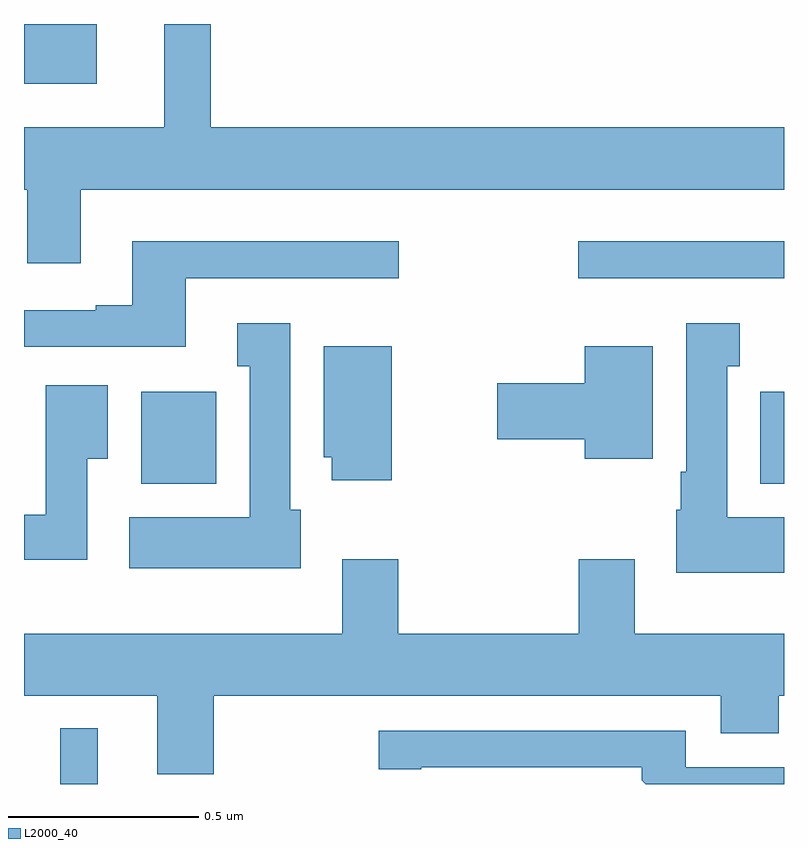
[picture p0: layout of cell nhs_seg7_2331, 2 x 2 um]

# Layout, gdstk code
import gdstk
lib = gdstk.Library(unit=1e-6, precision=1e-09)
def R(c, l, rs):  # rectangles x0, y0, x1, y1
    for r in rs: c.add(gdstk.rectangle(r[:2], r[2:], *l))
def P(c, l, *ps):  # polygons
    for p in ps: c.add(gdstk.Polygon(p, *l))
L2000_40 = (2000, 40)

nhs_seg7_2331 = lib.new_cell('nhs_seg7_2331')
R(nhs_seg7_2331, L2000_40, [(143.096,1051,143.194,1051.147), (143.309,1051.79,143.506,1052.032), (144.938,1051.79,145,1052.032), (144.459,1052.331,145,1052.428), (143,1052.843,143.191,1053)])
P(nhs_seg7_2331, L2000_40, [(143.149,1052.564),(145,1052.564),(145,1052.728),(143.491,1052.728),(143.491,1053),(143.369,1053),(143.369,1052.728),(143,1052.728),(143,1052.564),(143.009,1052.564),(143.009,1052.37),(143.149,1052.37)],
  [(143.425,1052.331),(143.986,1052.331),(143.986,1052.428),(143.285,1052.428),(143.285,1052.26),(143.189,1052.26),(143.189,1052.247),(143,1052.247),(143,1052.151),(143.425,1052.151)],
  [(143.728,1051.722),(143.701,1051.722),(143.701,1052.212),(143.561,1052.212),(143.561,1052.099),(143.594,1052.099),(143.594,1051.702),(143.277,1051.702),(143.277,1051.568),(143.728,1051.568)],
  [(145,1051.702),(144.85,1051.702),(144.85,1052.099),(144.883,1052.099),(144.883,1052.212),(144.743,1052.212),(144.743,1051.822),(144.728,1051.822),(144.728,1051.722),(144.716,1051.722),(144.716,1051.556),(145,1051.556)],
  [(143.968,1052.152),(143.789,1052.152),(143.789,1051.86),(143.81,1051.86),(143.81,1051.8),(143.968,1051.8)],
  [(144.655,1052.152),(144.476,1052.152),(144.476,1052.054),(144.246,1052.054),(144.246,1051.907),(144.476,1051.907),(144.476,1051.856),(144.655,1051.856)],
  [(143.167,1051.856),(143.221,1051.856),(143.221,1052.05),(143.057,1052.05),(143.057,1051.708),(143,1051.708),(143,1051.59),(143.167,1051.59)],
  [(144.607,1051.591),(144.46,1051.591),(144.46,1051.396),(143.985,1051.396),(143.985,1051.591),(143.837,1051.591),(143.837,1051.396),(143,1051.396),(143,1051.232),(143.351,1051.232),(143.351,1051.026),(143.499,1051.026),(143.499,1051.232),(144.833,1051.232),(144.833,1051.133),(144.986,1051.133),(144.986,1051.232),(145,1051.232),(145,1051.396),(144.607,1051.396)],
  [(145,1051.044),(144.741,1051.044),(144.741,1051.14),(143.934,1051.14),(143.934,1051.039),(144.046,1051.039),(144.046,1051.044),(144.626,1051.044),(144.626,1051.01),(144.636,1051),(145,1051)])

lib.write_gds('nhs_seg7_2331.gds')
